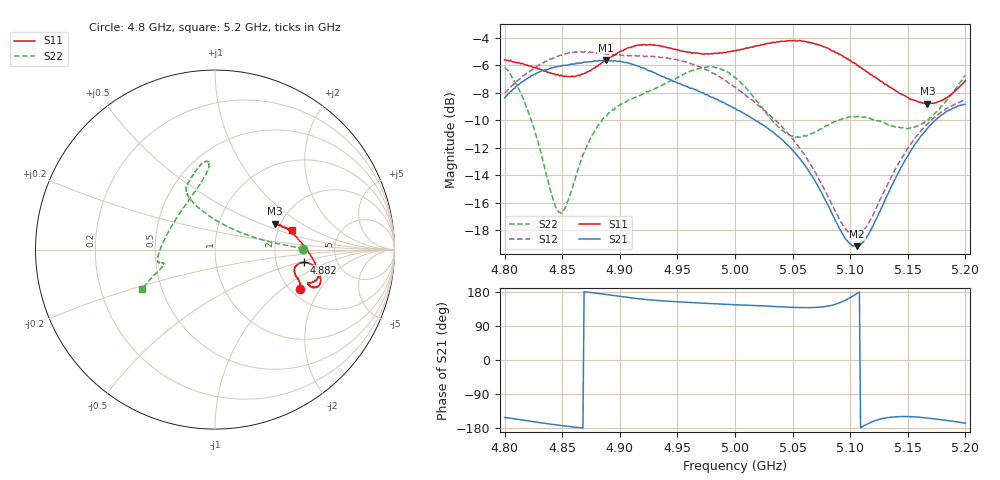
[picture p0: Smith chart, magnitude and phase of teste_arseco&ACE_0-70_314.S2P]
! Network Analyzer HP8722D
! Hewlett-Packard
! Data name: Linha & Wilkinson
! Saver's name: Rodrigo Anjos
! Comments: Teste da utilização de aquisição
! continua pelo VNA HP8722D
! Time and date: 8/5/2025 15:22
!  Frequency  S11  S21  S12  S22
# HZ  S  MA R 50
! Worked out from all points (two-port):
!   401 points, 4.8 GHz to 5.2 GHz, reference 50 ohm
!   highest |S21| = -5.63 dB at 4.888 GHz (marker M1); lowest = -19.2 dB at 5.106 GHz (marker M2)
!   |S21| within 3 dB of the highest: start of sweep to 4.988 GHz
!   lowest |S11| = -8.8 dB at 5.167 GHz (marker M3), VSWR 2.14, Z = 93.3 + j31 ohm
!   |S11| at or under -10 dB: nowhere
!   |S22| runs from -16.8 to -6.1 dB; largest |S21 - S12| = 1.1
!   S11 on the Smith chart (normalised r, x): 4.8 GHz: 2.24, -1.36; 4.882 GHz: 2.91, -0.56; 5.2 GHz: 2.36, +0.65
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4.8e9  0.5244 -24.9  0.3811 -151.9  0.3975 7.9  0.4923 0.7
4.82e9  0.5 -20.5  0.4492 -160.3  0.4707 5.0  0.3443 5.8
4.846e9  0.4639 -16.2  0.4958 -171.7  0.5399 0.7  0.1485 53.4
4.853e9  0.4569 -14.6  0.5013 -174.2  0.5515 -0.6  0.1526 80.2
4.867e9  0.4648 -10.9  0.511 -179.2  0.5601 -2.6  0.2294 108.3
4.882e9  0.5032 -8.2  0.5221 175.3  0.5546 -3.6  0.3052 115.8
4.888e9  0.523 -8.1  0.5233 172.8  0.5507 -3.6  0.3265 116.4
4.913e9  0.5904 -12.1  0.5013 162.9  0.5439 -2.8  0.3826 114.7
4.934e9  0.5916 -16.9  0.4619 156.7  0.5371 -3.8  0.4181 108.8
4.975e9  0.5514 -20.1  0.3916 149.5  0.4826 -7.0  0.4934 96.1
5e9  0.5659 -20.8  0.3488 145.8  0.4183 -7.1  0.4528 94.8
5.017e9  0.5882 -21.1  0.3175 143.8  0.3665 -4.5  0.3797 101.9
5.044e9  0.6126 -18.9  0.2604 139.7  0.2888 1.3  0.2836 132.5
5.067e9  0.6028 -14.0  0.1979 138.3  0.2137 8.7  0.2833 165.3
5.094e9  0.5389 -4.3  0.121 155.4  0.1307 34.4  0.3212 -172.8
5.106e9  0.5007 1.5  0.11 175.8  0.1205 57.8  0.326 -168.9
5.116e9  0.4698 6.7  0.1217 -167.3  0.1339 76.5  0.3217 -167.2
5.134e9  0.4178 15.8  0.1749 -151.4  0.1901 94.3  0.3028 -166.0
5.152e9  0.3775 22.0  0.2425 -149.5  0.2565 99.3  0.2962 -164.4
5.167e9  0.3631 23.4  0.295 -153.1  0.3063 99.8  0.3159 -161.1
5.182e9  0.3781 21.1  0.3364 -158.7  0.3443 99.9  0.3658 -157.4
5.2e9  0.4407 14.6  0.3611 -166.6  0.3746 100.3  0.4601 -151.7
